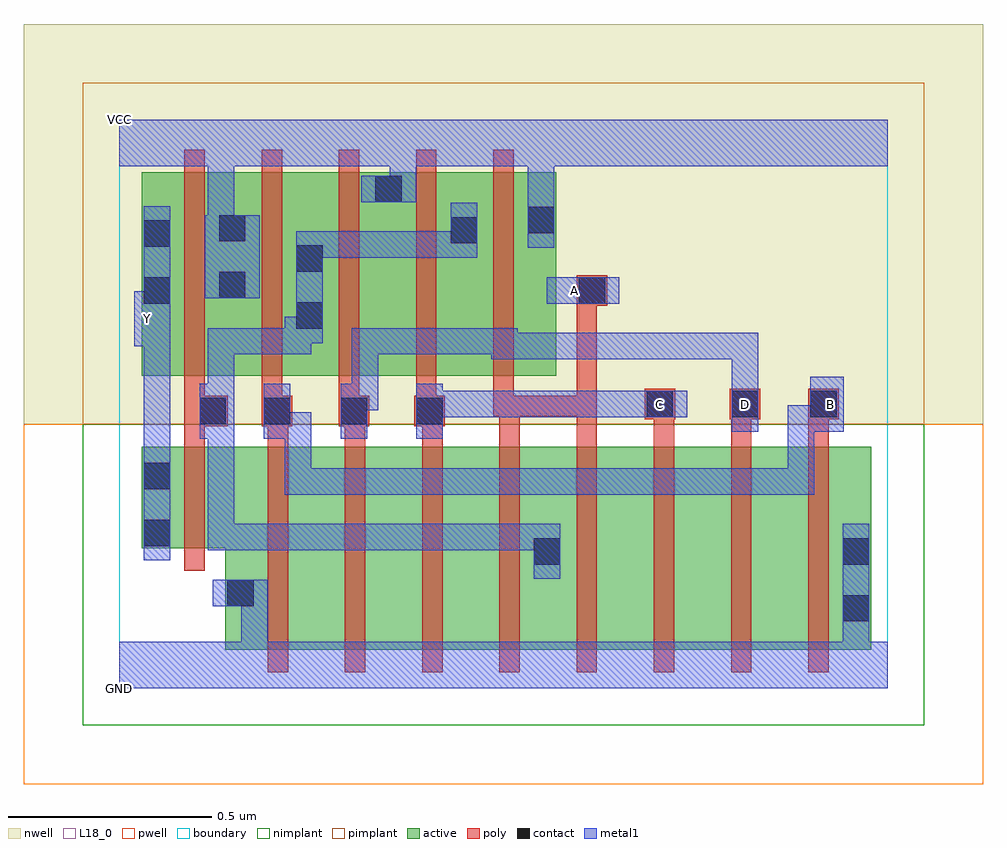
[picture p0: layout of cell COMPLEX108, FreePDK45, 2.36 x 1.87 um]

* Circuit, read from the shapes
.subckt COMPLEX108 A B C D GND VCC Y
M1 GND n1 Y VSUBS nfet w=0.25u l=0.05u
M2 n2 B GND VSUBS nfet w=0.5u l=0.05u
M3 n3 D n2 VSUBS nfet w=0.5u l=0.05u
M4 n4 C n3 VSUBS nfet w=0.5u l=0.05u
M5 n1 A n4 VSUBS nfet w=0.5u l=0.05u
M6 n5 A n1 VSUBS nfet w=0.5u l=0.05u
M7 n6 C n5 VSUBS nfet w=0.5u l=0.05u
M8 n7 D n6 VSUBS nfet w=0.5u l=0.05u
M9 GND B n7 VSUBS nfet w=0.5u l=0.05u
M10 VCC n1 Y n8 pfet w=0.5u l=0.05u
M11 n1 B VCC n8 pfet w=0.5u l=0.05u
M12 VCC D n1 n8 pfet w=0.5u l=0.05u
M13 n1 C VCC n8 pfet w=0.5u l=0.05u
M14 VCC A n1 n8 pfet w=0.5u l=0.05u
.ends

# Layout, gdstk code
import gdstk
lib = gdstk.Library(unit=1e-6, precision=1e-09)
def R(c, l, rs):  # rectangles x0, y0, x1, y1
    for r in rs: c.add(gdstk.rectangle(r[:2], r[2:], *l))
def A(c, l, x, y, w, h, nx, ny, dx, dy):  # array of equal rectangles
    R(c, l, [(x+i*dx, y+j*dy, x+i*dx+w, y+j*dy+h) for i in range(nx) for j in range(ny)])
active = (1, 0)
pwell = (2, 0)
nwell = (3, 0)
nimplant = (4, 0)
pimplant = (5, 0)
poly = (9, 0)
contact = (10, 0)
metal1 = (11, 0)
L18_0 = (18, 0)
boundary = (235, 0)

complex108 = lib.new_cell('COMPLEX108')
R(complex108, active, [(0.26,0.095,0.485,0.595), (0.26,0.095,0.335,0.447), (0.485,0.095,0.675,0.595), (0.675,0.095,0.865,0.595), (0.865,0.095,1.09,0.595), (1.015,0.095,1.245,0.595), (1.015,0.095,1.09,0.592), (1.245,0.095,1.435,0.595), (1.435,0.095,1.625,0.595), (1.625,0.095,1.85,0.595), (1.775,0.095,1.85,0.595), (0.055,0.345,0.335,0.595), (0.055,0.345,0.13,0.595), (0.055,0.77,0.315,1.27), (0.055,0.77,0.13,1.2), (0.24,0.77,0.505,1.27), (0.43,0.77,0.7,1.27), (0.625,0.77,0.885,1.27), (0.81,0.77,1.075,1.27), (1,0.77,1.075,1.242), (0.24,0.807,0.315,1.267), (0.43,0.807,0.505,1.2), (0.625,0.807,0.7,1.27), (0.81,0.807,0.885,1.2)])
R(complex108, pwell, [(-0.235,-0.235,2.125,0.65)])
R(complex108, nwell, [(-0.235,0.65,2.125,1.635)])
R(complex108, nimplant, [(-0.09,-0.09,1.98,0.65)])
R(complex108, pimplant, [(-0.09,0.65,1.98,1.49)])
A(complex108, poly, 0.365, 0.04, 0.05, 0.61, 8, 1, 0.19, 0)
A(complex108, poly, 0.365, 0.6, 0.05, 0.095, 3, 1, 0.19, 0)
A(complex108, poly, 1.315, 0.6, 0.05, 0.112, 3, 1, 0.19, 0)
A(complex108, poly, 0.16, 0.67, 0.05, 0.095, 5, 1, 0.19, 0)
A(complex108, poly, 0.16, 0.715, 0.05, 0.61, 5, 1, 0.19, 0)
R(complex108, poly, [(0.16,0.29,0.21,0.65), (0.16,0.6,0.21,0.695), (0.935,0.6,0.985,0.72), (1.125,0.6,1.175,0.72), (0.16,0.645,0.267,0.72), (0.35,0.645,0.425,0.72), (0.54,0.645,0.615,0.72), (0.725,0.645,0.8,0.72), (1.292,0.662,1.367,0.737), (1.502,0.662,1.577,0.737), (1.695,0.662,1.77,0.737), (0.92,0.67,0.985,0.72), (0.935,0.67,1.175,0.72), (1.125,0.67,1.175,0.72), (1.125,0.67,1.175,0.72), (1.125,0.67,1.175,0.72), (1.125,0.67,1.175,0.992), (1.125,0.942,1.2,1.017), (1.125,0.942,1.175,0.992), (1.125,0.942,1.175,0.992)])
R(complex108, contact, [(1.78,0.165,1.845,0.23), (0.265,0.202,0.33,0.267), (1.02,0.305,1.085,0.37), (1.78,0.305,1.845,0.37), (0.06,0.35,0.125,0.415), (0.06,0.49,0.125,0.555), (0.197,0.65,0.262,0.715), (0.355,0.65,0.42,0.715), (0.545,0.65,0.61,0.715), (0.73,0.65,0.795,0.715), (1.297,0.667,1.362,0.732), (1.507,0.667,1.572,0.732), (1.7,0.667,1.765,0.732), (0.435,0.885,0.5,0.95), (0.06,0.947,0.125,1.012), (1.13,0.947,1.195,1.012), (0.245,0.96,0.31,1.025), (0.435,1.025,0.5,1.09), (0.06,1.087,0.125,1.152), (0.815,1.095,0.88,1.16), (0.245,1.1,0.31,1.165), (1.005,1.12,1.07,1.185), (0.63,1.197,0.695,1.262)])
R(complex108, metal1, [(0,0,1.89,0.115), (0.3,0.05,0.365,0.267), (1.78,0.05,1.845,0.195), (1.78,0.13,1.845,0.405), (0.23,0.202,0.365,0.267), (1.02,0.27,1.085,0.405), (0.06,0.315,0.125,0.59), (0.217,0.34,0.282,0.405), (0.217,0.34,0.282,0.405), (0.217,0.34,0.282,0.405), (0.217,0.34,0.42,0.405), (0.217,0.34,0.282,0.68), (0.355,0.34,0.42,0.405), (0.355,0.34,0.42,0.405), (0.355,0.34,0.42,0.405), (0.355,0.34,0.637,0.405), (0.572,0.34,0.637,0.405), (0.572,0.34,0.637,0.405), (0.572,0.34,0.637,0.405), (0.572,0.34,0.795,0.405), (0.73,0.34,0.795,0.405), (0.73,0.34,0.795,0.405), (0.73,0.34,0.795,0.405), (0.73,0.34,0.932,0.405), (0.867,0.34,0.932,0.405), (0.867,0.34,1.085,0.405), (0.407,0.477,0.472,0.542), (0.407,0.477,0.637,0.542), (0.407,0.477,0.472,0.68), (0.572,0.477,0.637,0.542), (0.572,0.477,0.637,0.542), (0.572,0.477,0.637,0.542), (0.572,0.477,0.775,0.542), (0.71,0.477,0.775,0.542), (0.71,0.477,0.775,0.542), (0.71,0.477,0.775,0.542), (0.71,0.477,0.98,0.542), (0.915,0.477,0.98,0.542), (0.915,0.477,1.19,0.542), (1.125,0.477,1.19,0.542), (1.125,0.477,1.19,0.542), (1.125,0.477,1.19,0.542), (1.125,0.477,1.435,0.542), (1.37,0.477,1.435,0.542), (1.37,0.477,1.435,0.542), (1.37,0.477,1.435,0.542), (1.37,0.477,1.572,0.542), (1.507,0.477,1.572,0.542), (1.507,0.477,1.572,0.542), (1.507,0.477,1.572,0.542), (1.507,0.477,1.71,0.542), (1.645,0.477,1.71,0.697), (1.645,0.477,1.71,0.542), (0.06,0.525,0.125,0.907), (0.197,0.615,0.262,0.75), (0.197,0.615,0.282,0.68), (0.217,0.615,0.282,0.68), (0.217,0.615,0.282,0.887), (0.355,0.615,0.42,0.75), (0.355,0.615,0.472,0.68), (0.407,0.615,0.472,0.68), (0.545,0.615,0.61,0.75), (0.73,0.615,0.795,0.75), (1.507,0.632,1.572,0.767), (1.645,0.632,1.765,0.697), (1.645,0.632,1.71,0.697), (1.7,0.632,1.782,0.767), (0.73,0.667,0.932,0.732), (0.867,0.667,0.932,0.732), (0.867,0.667,0.932,0.732), (0.867,0.667,0.932,0.732), (0.867,0.667,1.19,0.732), (1.125,0.667,1.19,0.732), (1.125,0.667,1.19,0.732), (1.125,0.667,1.19,0.732), (1.125,0.667,1.327,0.732), (1.262,0.667,1.327,0.732), (1.262,0.667,1.327,0.732), (1.262,0.667,1.397,0.732), (0.545,0.685,0.637,0.75), (0.572,0.685,0.637,0.75), (0.572,0.685,0.637,0.887), (1.507,0.702,1.572,0.767), (1.507,0.702,1.572,0.767), (1.507,0.702,1.572,0.875), (0.915,0.81,1.07,0.875), (0.915,0.81,0.98,0.887), (1.005,0.81,1.07,0.875), (1.005,0.81,1.117,0.875), (1.052,0.81,1.117,0.875), (1.052,0.81,1.435,0.875), (1.37,0.81,1.435,0.875), (1.37,0.81,1.435,0.875), (1.37,0.81,1.435,0.875), (1.37,0.81,1.572,0.875), (1.507,0.81,1.572,0.875), (0.217,0.822,0.282,0.887), (0.217,0.822,0.472,0.887), (0.407,0.822,0.472,0.915), (0.572,0.822,0.637,0.887), (0.572,0.822,0.775,0.887), (0.71,0.822,0.775,0.887), (0.71,0.822,0.775,0.887), (0.71,0.822,0.775,0.887), (0.71,0.822,0.98,0.887), (0.037,0.842,0.125,0.977), (0.407,0.85,0.5,0.915), (0.435,0.85,0.5,1.125), (0.06,0.912,0.125,1.187), (0.06,0.912,0.125,0.977), (1.052,0.947,1.23,1.012), (0.21,0.96,0.345,1.165), (0.435,1.06,0.5,1.125), (0.435,1.06,0.5,1.125), (0.435,1.06,0.637,1.125), (0.572,1.06,0.637,1.125), (0.572,1.06,0.637,1.125), (0.572,1.06,0.637,1.125), (0.572,1.06,0.795,1.125), (0.73,1.06,0.795,1.125), (0.73,1.06,0.88,1.125), (0.815,1.06,0.88,1.195), (1.005,1.085,1.07,1.22), (0.217,1.1,0.282,1.35), (1.005,1.155,1.07,1.22), (1.005,1.155,1.07,1.22), (1.005,1.155,1.07,1.35), (0.595,1.197,0.73,1.262), (0.665,1.197,0.73,1.262), (0.665,1.197,0.73,1.262), (0.665,1.197,0.73,1.35), (0,1.285,1.89,1.4), (0.217,1.285,0.282,1.35), (0.217,1.285,0.282,1.35)])
A(complex108, L18_0, 1.297, 0.667, 0.065, 0.065, 3, 1, 0.21, 0)
R(complex108, L18_0, [(0,0,1.89,0.115), (0.3,0.05,0.365,0.267), (1.78,0.05,1.845,0.195), (1.78,0.13,1.845,0.405), (0.23,0.202,0.365,0.267), (0.06,0.315,0.125,0.59), (0.407,0.477,0.472,0.542), (0.407,0.477,0.472,0.68), (0.407,0.477,0.637,0.542), (0.572,0.477,0.637,0.542), (0.572,0.477,0.637,0.542), (0.572,0.477,0.637,0.542), (0.572,0.477,0.775,0.542), (0.71,0.477,0.775,0.542), (0.71,0.477,0.775,0.542), (0.71,0.477,0.775,0.542), (0.71,0.477,0.98,0.542), (0.915,0.477,0.98,0.542), (0.915,0.477,1.19,0.542), (1.125,0.477,1.19,0.542), (1.125,0.477,1.19,0.542), (1.125,0.477,1.19,0.542), (1.125,0.477,1.435,0.542), (1.37,0.477,1.435,0.542), (1.37,0.477,1.435,0.542), (1.37,0.477,1.435,0.542), (1.37,0.477,1.572,0.542), (1.507,0.477,1.572,0.542), (1.507,0.477,1.572,0.542), (1.507,0.477,1.572,0.542), (1.507,0.477,1.71,0.542), (1.645,0.477,1.71,0.542), (1.645,0.477,1.71,0.697), (0.06,0.525,0.125,0.907), (0.355,0.615,0.42,0.75), (0.355,0.615,0.472,0.68), (0.407,0.615,0.472,0.68), (0.545,0.615,0.61,0.75), (0.73,0.615,0.795,0.75), (1.507,0.632,1.572,0.767), (1.645,0.632,1.71,0.697), (1.645,0.632,1.765,0.697), (1.7,0.632,1.782,0.767), (0.73,0.667,0.932,0.732), (0.867,0.667,0.932,0.732), (0.867,0.667,0.932,0.732), (0.867,0.667,0.932,0.732), (0.867,0.667,1.19,0.732), (1.125,0.667,1.19,0.732), (1.125,0.667,1.19,0.732), (1.125,0.667,1.19,0.732), (1.125,0.667,1.327,0.732), (1.262,0.667,1.327,0.732), (1.262,0.667,1.327,0.732), (1.262,0.667,1.397,0.732), (0.545,0.685,0.637,0.75), (0.572,0.685,0.637,0.75), (0.572,0.685,0.637,0.887), (1.507,0.702,1.572,0.767), (1.507,0.702,1.572,0.767), (1.507,0.702,1.572,0.875), (0.915,0.81,0.98,0.887), (0.915,0.81,1.07,0.875), (1.005,0.81,1.07,0.875), (1.005,0.81,1.117,0.875), (1.052,0.81,1.117,0.875), (1.052,0.81,1.435,0.875), (1.37,0.81,1.435,0.875), (1.37,0.81,1.435,0.875), (1.37,0.81,1.435,0.875), (1.37,0.81,1.572,0.875), (1.507,0.81,1.572,0.875), (0.572,0.822,0.637,0.887), (0.572,0.822,0.775,0.887), (0.71,0.822,0.775,0.887), (0.71,0.822,0.775,0.887), (0.71,0.822,0.775,0.887), (0.71,0.822,0.98,0.887), (0.037,0.842,0.125,0.977), (0.037,0.877,0.102,0.942), (0.06,0.912,0.125,1.187), (0.06,0.912,0.125,0.977), (1.052,0.947,1.23,1.012), (1.087,0.947,1.152,1.012), (0.21,0.96,0.345,1.165), (1.005,1.085,1.07,1.22), (0.217,1.1,0.282,1.35), (1.005,1.155,1.07,1.22), (1.005,1.155,1.07,1.22), (1.005,1.155,1.07,1.35), (0.595,1.197,0.73,1.262), (0.665,1.197,0.73,1.262), (0.665,1.197,0.73,1.262), (0.665,1.197,0.73,1.35), (0,1.285,1.89,1.4), (0.217,1.285,0.282,1.35), (0.217,1.285,0.282,1.35)])
R(complex108, boundary, [(0,0,1.89,1.4)])
complex108.add(gdstk.Label('A', (1.12,0.98), layer=11, texttype=0))
complex108.add(gdstk.Label('B', (1.75,0.7), layer=11, texttype=0))
complex108.add(gdstk.Label('C', (1.33,0.7), layer=11, texttype=0))
complex108.add(gdstk.Label('D', (1.54,0.7), layer=11, texttype=0))
complex108.add(gdstk.Label('Y', (0.07,0.91), layer=11, texttype=0))
complex108.add(gdstk.Label('VCC', (0,1.4), layer=11, texttype=0))
complex108.add(gdstk.Label('GND', (0,0), layer=11, texttype=0))

lib.write_gds('COMPLEX108.gds')
